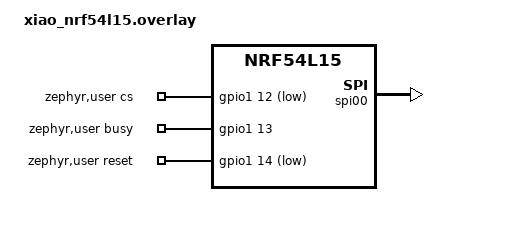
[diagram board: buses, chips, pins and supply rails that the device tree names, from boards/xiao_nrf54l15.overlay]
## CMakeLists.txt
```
cmake_minimum_required(VERSION 3.20.0)

find_package(Zephyr REQUIRED HINTS $ENV{ZEPHYR_BASE})
project(lr2021_cr_probe)

target_sources(app PRIVATE src/main.c src/lr2021_probe.c)
target_include_directories(app PRIVATE src)

# Build the TX role with: west build -b <board> . -- -DROLE=TX
if(ROLE STREQUAL "TX")
  target_compile_definitions(app PRIVATE PROBE_ROLE_TX=1)
endif()
```

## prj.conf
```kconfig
# Shared configuration. The role comes from rx.conf or tx.conf; without one the build is RX.
CONFIG_SPI=y
CONFIG_GPIO=y
CONFIG_MAIN_STACK_SIZE=4096
```

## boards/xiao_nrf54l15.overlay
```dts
/*
 * Pin map for the probe, as a /zephyr,user node so that no custom devicetree binding is needed.
 *
 * CONFIRM EVERY LINE AGAINST THE BOARD BEFORE FLASHING. The controller label, the GPIO ports and
 * the pin numbers below are placeholders in the shape the code expects, not a known-good XIAO
 * nRF54L15 wiring. Getting them wrong makes GetVersion return something other than 0x01 0x18, or
 * leaves BUSY stuck high - both of which the probe reports and refuses to continue past, so a
 * wiring error cannot be mistaken for a radio result.
 *
 * Rename the file to match the board target you build for (west picks up
 * boards/<board>.overlay automatically), or pass it with -DDTC_OVERLAY_FILE=.
 */

/ {
	zephyr,user {
		spi-bus = <&spi00>;
		/* NSS: driven by the application, one assert per command frame */
		cs-gpios = <&gpio1 12 GPIO_ACTIVE_LOW>;
		/* BUSY: high while the chip is processing a command */
		busy-gpios = <&gpio1 13 GPIO_ACTIVE_HIGH>;
		/* NRESET */
		reset-gpios = <&gpio1 14 GPIO_ACTIVE_LOW>;
	};
};

&spi00 {
	status = "okay";
	/* SCK, MOSI and MISO come from the board's own pinctrl for this controller. If the radio is
	 * not on the board's default SPI pins, add a pinctrl group here and point the controller at
	 * it with pinctrl-0/pinctrl-names. */
};
```

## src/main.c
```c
/*
 * Zephyr port of the LR2021 coding-rate probe. Everything radio-specific is in lr2021_probe.c;
 * this file only wires six functions to Zephyr's SPI and GPIO APIs.
 *
 * Pins come from the /zephyr,user devicetree node in the board overlay, so no custom binding is
 * needed. Chip select is driven by hand rather than by the SPI driver, so that NSS stays asserted
 * for exactly one command frame - the LR2021 latches a command on the rising edge of NSS.
 *
 * Build one role or the other:
 *   west build -b <board> .                 # RX, the default
 *   west build -b <board> . -- -DROLE=TX    # TX
 */

#include <zephyr/device.h>
#include <zephyr/devicetree.h>
#include <zephyr/drivers/gpio.h>
#include <zephyr/drivers/spi.h>
#include <zephyr/kernel.h>
#include <zephyr/sys/printk.h>

#include "lr2021_probe.h"

#define ZUSER DT_PATH(zephyr_user)

#ifndef PROBE_SPI_HZ
#define PROBE_SPI_HZ 8000000
#endif
/* Print the summary line every this many receptions. */
#ifndef PROBE_SUMMARY_EVERY
#define PROBE_SUMMARY_EVERY 20
#endif
/* 1 = the first time the reported rate differs from the configured one, write the configured code
 * back into the packet-status nibble and keep going. Off by default: observe first. */
#ifndef PROBE_AUTO_CLEAR
#define PROBE_AUTO_CLEAR 0
#endif
/* 1 = log every SPI frame, not just the init sequence. Very chatty under traffic. */
#ifndef PROBE_TRACE_ALL
#define PROBE_TRACE_ALL 0
#endif

static const struct device *spi_bus = DEVICE_DT_GET(DT_PHANDLE(ZUSER, spi_bus));
static const struct gpio_dt_spec cs_gpio = GPIO_DT_SPEC_GET_BY_IDX(ZUSER, cs_gpios, 0);
static const struct gpio_dt_spec busy_gpio = GPIO_DT_SPEC_GET_BY_IDX(ZUSER, busy_gpios, 0);
static const struct gpio_dt_spec reset_gpio = GPIO_DT_SPEC_GET_BY_IDX(ZUSER, reset_gpios, 0);

static const struct spi_config spi_cfg = {
    .frequency = PROBE_SPI_HZ,
    .operation = SPI_OP_MODE_MASTER | SPI_WORD_SET(8) | SPI_TRANSFER_MSB,
    .slave = 0,
    .cs = {0},
};

static void hal_spi_xfer(const uint8_t *tx, uint8_t *rx, size_t len)
{
    const struct spi_buf tx_buf = {.buf = (void *)tx, .len = len};
    const struct spi_buf rx_buf = {.buf = rx, .len = len};
    const struct spi_buf_set tx_set = {.buffers = &tx_buf, .count = 1};
    const struct spi_buf_set rx_set = {.buffers = &rx_buf, .count = 1};

    gpio_pin_set_dt(&cs_gpio, 1); /* logical 1 asserts: the pin is declared active-low */
    int rc = spi_transceive(spi_bus, &spi_cfg, &tx_set, &rx_set);
    gpio_pin_set_dt(&cs_gpio, 0);

    if (rc != 0) {
        printk("! spi_transceive rc=%d\n", rc);
    }
}

static bool hal_busy_high(void)
{
    return gpio_pin_get_dt(&busy_gpio) == 1;
}

static void hal_reset_drive_low(bool low)
{
    gpio_pin_set_dt(&reset_gpio, low ? 1 : 0); /* declared active-low */
}

static void hal_delay_ms(uint32_t ms)
{
    k_msleep((int32_t)ms);
}

static uint32_t hal_millis(void)
{
    return (uint32_t)k_uptime_get_32();
}

static void hal_log_line(const char *line)
{
    printk("%s\n", line);
}

static const lr2021_hal_t probe_hal = {
    .spi_xfer = hal_spi_xfer,
    .busy_high = hal_busy_high,
    .reset_drive_low = hal_reset_drive_low,
    .delay_ms = hal_delay_ms,
    .millis = hal_millis,
    .log_line = hal_log_line,
};

static int pins_init(void)
{
    if (!device_is_ready(spi_bus)) {
        printk("! SPI bus not ready\n");
        return -1;
    }
    /* CS and NRESET idle de-asserted; both are declared active-low in the overlay */
    if (gpio_pin_configure_dt(&cs_gpio, GPIO_OUTPUT_INACTIVE) != 0 ||
        gpio_pin_configure_dt(&reset_gpio, GPIO_OUTPUT_INACTIVE) != 0 || gpio_pin_configure_dt(&busy_gpio, GPIO_INPUT) != 0) {
        printk("! GPIO configure failed\n");
        return -1;
    }
    return 0;
}

int main(void)
{
    k_msleep(500); /* let a USB console attach before the init trace goes out */

    if (pins_init() != 0) {
        return 0;
    }

#if PROBE_TRACE_ALL
    lr2021_probe_set_trace(true);
#endif

#if defined(PROBE_ROLE_TX)
    int rc = lr2021_probe_begin(&probe_hal, LR2021_ROLE_TX);
    if (rc != 0) {
        printk("! begin rc=%d\n", rc);
        return 0;
    }
    k_msleep(3000); /* give the receiver time to come up */
    for (;;) {
        rc = lr2021_probe_tx_sequence();
        if (rc != 0) {
            printk("! tx_sequence rc=%d\n", rc);
            return 0;
        }
        printk("# idle for 30 s, then the sequence runs again after a chip reset\n");
        k_msleep(30000);
        /* a fresh reset for each run, so every sequence starts from a clean receiver state when
         * both ends are power-cycled together */
        rc = lr2021_probe_begin(&probe_hal, LR2021_ROLE_TX);
        if (rc != 0) {
            printk("! re-begin rc=%d\n", rc);
            return 0;
        }
    }
#else
    int rc = lr2021_probe_begin(&probe_hal, LR2021_ROLE_RX);
    if (rc != 0) {
        printk("! begin rc=%d\n", rc);
        return 0;
    }

    uint32_t handled = 0;
    bool cleared_once = false;
    for (;;) {
        int got = lr2021_probe_rx_poll();
        if (got < 0) {
            printk("! rx_poll rc=%d\n", got);
            k_msleep(100);
            continue;
        }
        if (got == 0) {
            k_msleep(2);
            continue;
        }
        handled++;
        if (handled % PROBE_SUMMARY_EVERY == 0) {
            lr2021_probe_rx_summary();
        }
#if PROBE_AUTO_CLEAR
        if (!cleared_once && lr2021_probe_rx_last_cr() != lr2021_probe_configured_cr()) {
            (void)lr2021_probe_clear_cr_nibble();
            cleared_once = true;
        }
#else
        (void)cleared_once;
#endif
    }
#endif
    return 0;
}
```

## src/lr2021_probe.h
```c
/*
 * LR2021 coding-rate probe - no radio driver, no library.
 *
 * Every SPI frame this file sends is built here, byte by byte, so the whole command stream is
 * visible in one place and can be diffed against another driver's. The host port supplies six
 * functions through lr2021_hal_t; nothing else is needed.
 *
 * Protocol, from LR20xx datasheet rev 2.2 section 5.4:
 *   - a command is a 16-bit opcode, big-endian, followed by its arguments;
 *   - BUSY must be low before a frame starts;
 *   - a write is one frame;
 *   - a read is two frames: the first carries the opcode and arguments, then BUSY goes low when
 *     the reply is ready, and the second clocks it out. The second frame returns the 16 stat bits
 *     first, so the first two bytes are discarded and the reply bytes follow;
 *   - the radio FIFO read (opcode 0x0001) is the exception: one frame, no stat bytes, data
 *     follows the opcode directly (datasheet section 5.4.1.3, "Direct Read").
 */

#ifndef LR2021_PROBE_H
#define LR2021_PROBE_H

#include <stdbool.h>
#include <stddef.h>
#include <stdint.h>

/* The host port implements these. spi_xfer sends and receives one whole frame with NSS asserted
 * for its duration; tx and rx are both len bytes and either may alias a scratch buffer. */
typedef struct {
    void (*spi_xfer)(const uint8_t *tx, uint8_t *rx, size_t len);
    bool (*busy_high)(void);
    void (*reset_drive_low)(bool low);
    void (*delay_ms)(uint32_t ms);
    uint32_t (*millis)(void);
    void (*log_line)(const char *line);
} lr2021_hal_t;

typedef enum {
    LR2021_ROLE_RX = 0,
    LR2021_ROLE_TX = 1,
} lr2021_role_t;

/* Reset, identify and configure the chip for LoRa. Returns 0 on success, negative on failure.
 * The sequence mirrors RadioLib's LR2021::begin() command for command; see lr2021_probe.c. */
int lr2021_probe_begin(const lr2021_hal_t *hal, lr2021_role_t role);

/* RX: poll once. Handles at most one reception per call and logs a line for it.
 * Returns 1 if a reception was handled, 0 if not, negative on an SPI error. */
int lr2021_probe_rx_poll(void);

/* RX: print the running summary, or write the configured coding rate back into the packet-status
 * nibble (a mechanism experiment, not a fix - the address is undocumented). */
void lr2021_probe_rx_summary(void);
int lr2021_probe_clear_cr_nibble(void);

/* The coding rate the chip reported for the last reception, and the one both ends are configured
 * for. 0xFF means nothing has been received yet. */
uint8_t lr2021_probe_rx_last_cr(void);
uint8_t lr2021_probe_configured_cr(void);

/* TX: run the five-phase sequence once. Blocks for roughly fifteen seconds. */
int lr2021_probe_tx_sequence(void);

/* Log every SPI frame in hex. Off by default; the init trace is printed regardless. */
void lr2021_probe_set_trace(bool on);

#endif /* LR2021_PROBE_H */
```
